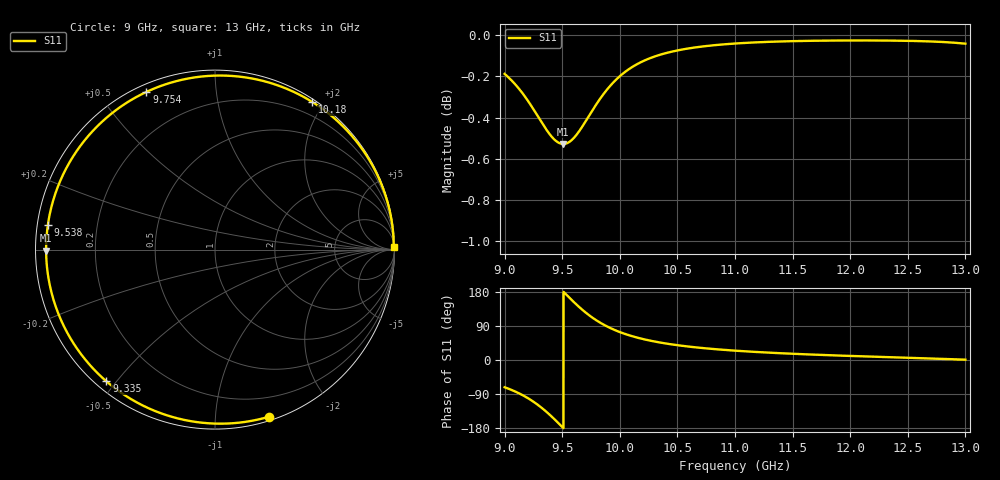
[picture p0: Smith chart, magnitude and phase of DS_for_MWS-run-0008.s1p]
! TOUCHSTONE file generated by CST DESIGN STUDIO
! Date and time: Tue Feb  4 14:20:55 2025
! Project name: C:\Work\MatlabApps\UnitCellOptimizationMatlab\CST\unitcell.cst
! Tree item: Tasks\Sweep1\SPara1\S-Parameters
! Header version: 2024
! Port assignment regex: !\s*Touchstone port\s*([0-9]+)\s*=\s*(CST MWS port|CST DES external port|CST DES block port)\s*(.+)\s* \(\"(.*)\"\)(\s*mode\s*([0-9]+))?.*
! Touchstone port assignment:
! Touchstone port 1 = CST DES external port 1 ("")
# GHz S MA R 50
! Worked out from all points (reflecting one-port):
!   4001 points, 9 GHz to 13 GHz, reference 50 ohm
!   lowest |S11| = -0.5 dB at 9.51 GHz (marker M1), VSWR 32.89, Z = 1.52 - j0.148 ohm
!   phase of S11 starts at -72 deg and turns -287 deg over the sweep
!   S11 on the Smith chart (normalised r, x): 9 GHz: 0.03, -1.38; 9.335 GHz: 0.03, -0.47; 9.538 GHz: 0.03, +0.07; 9.754 GHz: 0.03, +0.65; 10.18 GHz: 0.03, +1.86; 13 GHz: open
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9  0.9786 -71.9
9.092  0.9729 -83.2
9.196  0.9646 -99.6
9.269  0.9576 -114.0
9.335  0.9511 -129.5
9.38  0.947 -141.3
9.426  0.9437 -154.3
9.464  0.9418 -165.6
9.5  0.941 -176.6
9.51  0.941 -179.7
9.538  0.9413 171.7
9.591  0.9435 155.8
9.65  0.948 139.0
9.701  0.9528 125.8
9.754  0.958 113.5
9.804  0.9628 103.3
9.86  0.9678 93.2
10  0.9774 73.7
10.088  0.9816 64.6
10.184  0.9851 56.5
10.328  0.9887 47.3
10.5  0.9916 39.1
10.721  0.9938 31.5
11  0.9954 24.6
11.5  0.9967 16.4
12  0.9971 10.7
12.5  0.9969 5.9
13  0.9953 0.8
